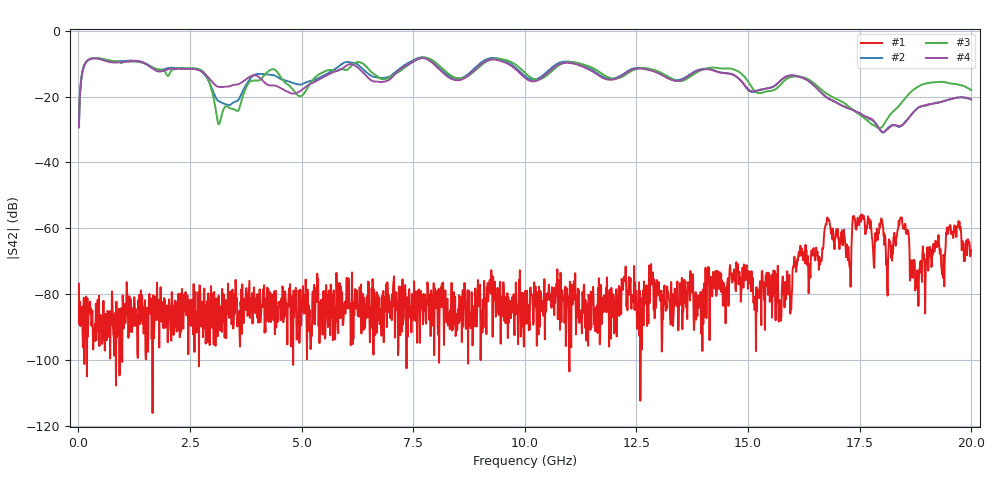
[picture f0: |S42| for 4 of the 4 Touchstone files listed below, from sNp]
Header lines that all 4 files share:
!$DUT_CFG_DESC: Default 4-Port Configuration
!$NUMBER_PORTS: 4
!$DIFF_PORT_MAP: 1|2P|2|2P|0|UC|0|UC|
!$PORT_MAP: 1|1|<<<<<<|2|2|>>>>>>|3|3|<<<<<<|4|4|>>>>>>|
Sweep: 10 MHz to 20 GHz
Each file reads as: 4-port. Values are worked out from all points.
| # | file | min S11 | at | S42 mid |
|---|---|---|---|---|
| 1 | SAMPLE.S4P | -71.2 dB | 3.07 GHz | -79.1 dB at 10.01 GHz |
| 2 | SI-489-1_SURFACE_PCIE0_LANE1_C1_P1-2-3_Sdd1-2.s4p | -35.7 dB | 14.92 GHz | -13.9 dB at 10.01 GHz |
| 3 | SI-489-5_SURFACE_PCIE0_LANE5_C5_P4_Sdd1-2.s4p | -29.0 dB | 4.44 GHz | -12.8 dB at 10.01 GHz |
| 4 | SI-489-6_SURFACE_PCIE0_LANE6_C4_P2_Sdd1-4.s4p | -35.6 dB | 14.92 GHz | -14.4 dB at 10.01 GHz |
